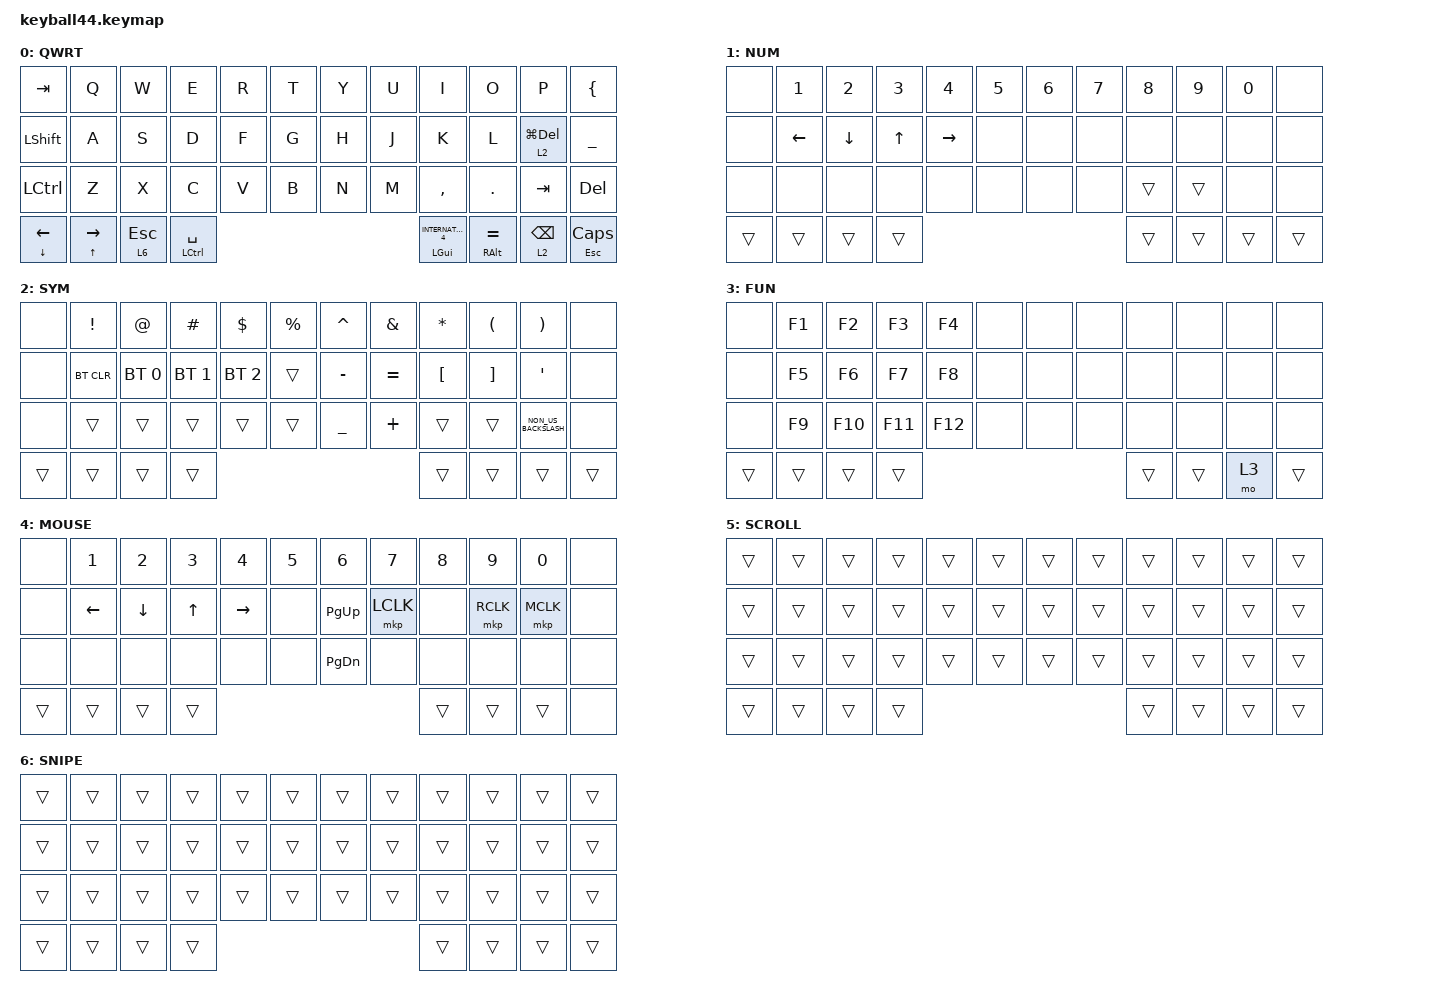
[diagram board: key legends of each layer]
#define DEFAULT 0
#define NUM     1
#define SYM     2
#define FUN     3
#define MOUSE   4
#define SCROLL  5
#define SNIPE   6

#include <behaviors/mouse_keys.dtsi>
#include <dt-bindings/zmk/mouse.h>
#include <behaviors.dtsi>
#include <dt-bindings/zmk/bt.h>
#include <dt-bindings/zmk/keys.h>
#include <dt-bindings/zmk/pointing.h>

&lt {
    tapping-term-ms = <240>;
    flavor = "balanced";
    quick-tap-ms = <150>;
};

&mt {
    tapping-term-ms = <200>;
    flavor = "tap-preferred";
    quick-tap-ms = <150>;
};

&caps_word { continue-list = <UNDERSCORE MINUS>; };

/ {
    // custom shift using mod-morph 

    behaviors {
        cmqus: comma_question {
            compatible = "zmk,behavior-mod-morph";
            label = "COMMA_QUESTION";
            #binding-cells = <0>;
            bindings = <&kp COMMA>, <&kp QUESTION>;

            mods = <(MOD_LSFT|MOD_RSFT)>;
        };

        dtsmi: dot_semi {
            compatible = "zmk,behavior-mod-morph";
            label = "DOT_SEMI";
            #binding-cells = <0>;
            bindings = <&kp DOT>, <&kp SEMI>;

            mods = <(MOD_LSFT|MOD_RSFT)>;
        };
    };

    keymap {
        compatible = "zmk,keymap";

        default_layer {
            label = "QWRT";
            bindings = <
&kp TAB                    &kp Q                     &kp W         &kp E                   &kp R                         &kp T                           &kp Y            &kp U  &kp I      &kp O    &kp P             &kp LEFT_BRACE
&kp LEFT_SHIFT             &kp A                     &kp S         &kp D                   &kp F                         &kp G                           &kp H            &kp J  &kp K      &kp L    &lt 2 LG(DELETE)  &kp UNDERSCORE
&kp LCTRL                  &kp Z                     &kp X         &kp C                   &kp V                         &kp B                           &kp N            &kp M  &kp COMMA  &kp DOT  &kp TAB           &kp DELETE
&mt DOWN_ARROW LEFT_ARROW  &mt UP_ARROW RIGHT_ARROW  &lt 6 ESCAPE  &mt LEFT_CONTROL SPACE  &mt LEFT_GUI INTERNATIONAL_4             &mt RIGHT_ALT EQUAL  &lt 2 BACKSPACE                                               &mt ESCAPE CLCK
            >;
        };

        number_layer {
            label = "NUM";
            bindings = <
&none   &kp NUMBER_1  &kp NUMBER_2  &kp NUMBER_3  &kp NUMBER_4  &kp NUMBER_5              &kp NUMBER_6  &kp NUMBER_7  &kp NUMBER_8  &kp NUMBER_9  &kp NUMBER_0  &none
&none   &kp LEFT      &kp DOWN      &kp UP_ARROW  &kp RIGHT     &none                     &none         &none         &none         &none         &none         &none
&none   &none         &none         &none         &none         &none                     &none         &none         &trans        &trans        &none         &none
&trans  &trans        &trans        &trans        &trans                          &trans  &trans                                                                &trans
            >;
        };

        symbol_layer {
            label = "SYM";
            bindings = <
&none   &kp EXCLAMATION  &kp AT_SIGN   &kp HASH      &kp DOLLAR    &kp PERCENT              &kp CARET       &kp AMPERSAND  &kp ASTERISK      &kp LEFT_PARENTHESIS  &kp RIGHT_PARENTHESIS  &none
&none   &bt BT_CLR       &bt BT_SEL 0  &bt BT_SEL 1  &bt BT_SEL 2  &trans                   &kp MINUS       &kp EQUAL      &kp LEFT_BRACKET  &kp RIGHT_BRACKET     &kp SQT                &none
&none   &trans           &trans        &trans        &trans        &trans                   &kp UNDERSCORE  &kp PLUS       &trans            &trans                &kp NON_US_BACKSLASH   &none
&trans  &trans           &trans        &trans        &trans                         &trans  &trans                                                                                        &trans
            >;
        };

        function_layer {
            label = "FUN";
            bindings = <
&none   &kp F1  &kp F2   &kp F3   &kp F4   &none              &none  &none  &none  &none  &none  &none
&none   &kp F5  &kp F6   &kp F7   &kp F8   &none              &none  &none  &none  &none  &none  &none
&none   &kp F9  &kp F10  &kp F11  &kp F12  &none              &none  &none  &none  &none  &none  &none
&trans  &trans  &trans   &trans   &trans              &trans  &mo 3                              &trans
            >;
        };

        mouse_layer {
            label = "MOUSE";
            bindings = <
&none   &kp N1          &kp N2          &kp N3        &kp N4     &kp N5              &kp N6         &kp N7     &kp N8  &kp N9     &kp N0     &none
&none   &kp LEFT_ARROW  &kp DOWN_ARROW  &kp UP_ARROW  &kp RIGHT  &none               &kp PAGE_UP    &mkp LCLK  &none   &mkp RCLK  &mkp MCLK  &none
&none   &none           &none           &none         &none      &none               &kp PAGE_DOWN  &none      &none   &none      &none      &none
&trans  &trans          &trans          &trans        &trans                 &trans  &trans                                                  &none
            >;
        };

        scroll_layer {
            label = "SCROLL";
            bindings = <
&trans  &trans  &trans  &trans  &trans  &trans              &trans  &trans  &trans  &trans  &trans  &trans
&trans  &trans  &trans  &trans  &trans  &trans              &trans  &trans  &trans  &trans  &trans  &trans
&trans  &trans  &trans  &trans  &trans  &trans              &trans  &trans  &trans  &trans  &trans  &trans
&trans  &trans  &trans  &trans  &trans              &trans  &trans                                  &trans
            >;
        };

        snipe_layer {
            label = "SNIPE";
            bindings = <
&trans  &trans  &trans  &trans  &trans  &trans              &trans  &trans  &trans  &trans  &trans  &trans
&trans  &trans  &trans  &trans  &trans  &trans              &trans  &trans  &trans  &trans  &trans  &trans
&trans  &trans  &trans  &trans  &trans  &trans              &trans  &trans  &trans  &trans  &trans  &trans
&trans  &trans  &trans  &trans  &trans              &trans  &trans                                  &trans
            >;
        };
    };
};
